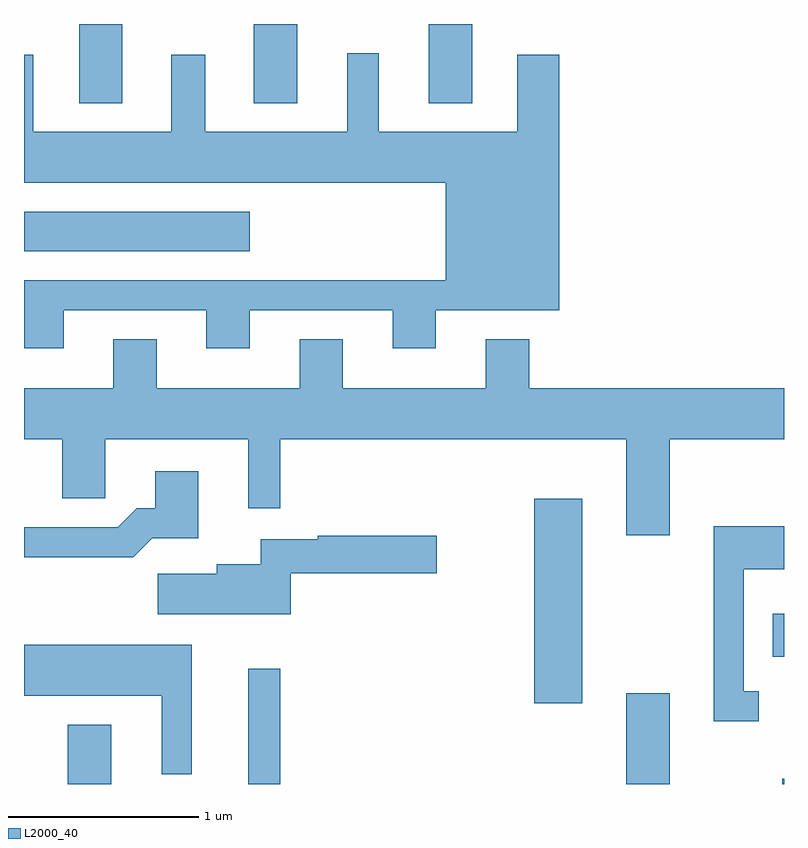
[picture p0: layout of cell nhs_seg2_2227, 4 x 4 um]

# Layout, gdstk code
import gdstk
lib = gdstk.Library(unit=1e-6, precision=1e-09)
def R(c, l, rs):  # rectangles x0, y0, x1, y1
    for r in rs: c.add(gdstk.rectangle(r[:2], r[2:], *l))
def A(c, l, x, y, w, h, nx, ny, dx, dy):  # array of equal rectangles
    R(c, l, [(x+i*dx, y+j*dy, x+i*dx+w, y+j*dy+h) for i in range(nx) for j in range(ny)])
def P(c, l, *ps):  # polygons
    for p in ps: c.add(gdstk.Polygon(p, *l))
L2000_40 = (2000, 40)

nhs_seg2_2227 = lib.new_cell('nhs_seg2_2227')
A(nhs_seg2_2227, L2000_40, 249.901, 1083.386, 0.228, 0.416, 3, 1, 0.92, 0)
R(nhs_seg2_2227, L2000_40, [(249.841,1079.802,250.069,1080.114), (250.791,1079.802,250.959,1080.408), (252.781,1079.802,253.009,1080.279), (253.601,1079.802,253.611,1079.829), (252.296,1080.226,252.549,1081.304), (253.551,1080.471,253.611,1080.699), (249.611,1082.606,250.799,1082.814)])
P(nhs_seg2_2227, L2000_40, [(249.819,1082.296),(250.571,1082.296),(250.571,1082.096),(250.799,1082.096),(250.799,1082.296),(251.551,1082.296),(251.551,1082.096),(251.779,1082.096),(251.779,1082.296),(252.429,1082.296),(252.429,1083.639),(252.206,1083.639),(252.206,1083.234),(251.479,1083.234),(251.479,1083.648),(251.311,1083.648),(251.311,1083.234),(250.564,1083.234),(250.564,1083.639),(250.386,1083.639),(250.386,1083.234),(249.659,1083.234),(249.659,1083.639),(249.611,1083.639),(249.611,1082.966),(251.831,1082.966),(251.831,1082.454),(249.611,1082.454),(249.611,1082.096),(249.819,1082.096)],
  [(253.009,1081.616),(253.611,1081.616),(253.611,1081.884),(252.269,1081.884),(252.269,1082.144),(252.041,1082.144),(252.041,1081.884),(251.289,1081.884),(251.289,1082.144),(251.061,1082.144),(251.061,1081.884),(250.309,1081.884),(250.309,1082.144),(250.081,1082.144),(250.081,1081.884),(249.611,1081.884),(249.611,1081.616),(249.811,1081.616),(249.811,1081.306),(250.039,1081.306),(250.039,1081.616),(250.791,1081.616),(250.791,1081.253),(250.959,1081.253),(250.959,1081.616),(252.781,1081.616),(252.781,1081.111),(253.009,1081.111)],
  [(250.287,1081.096),(250.529,1081.096),(250.529,1081.449),(250.301,1081.449),(250.301,1081.254),(250.204,1081.254),(250.104,1081.154),(249.611,1081.154),(249.611,1080.996),(250.187,1080.996)],
  [(253.478,1080.289),(253.399,1080.289),(253.399,1080.931),(253.611,1080.931),(253.611,1081.159),(253.241,1081.159),(253.241,1080.131),(253.478,1080.131)],
  [(251.014,1080.911),(251.784,1080.911),(251.784,1081.109),(251.156,1081.109),(251.156,1081.089),(250.856,1081.089),(250.856,1080.959),(250.626,1080.959),(250.626,1080.909),(250.316,1080.909),(250.316,1080.696),(251.014,1080.696)],
  [(250.494,1080.534),(249.611,1080.534),(249.611,1080.266),(250.336,1080.266),(250.336,1079.853),(250.494,1079.853)])

lib.write_gds('nhs_seg2_2227.gds')
